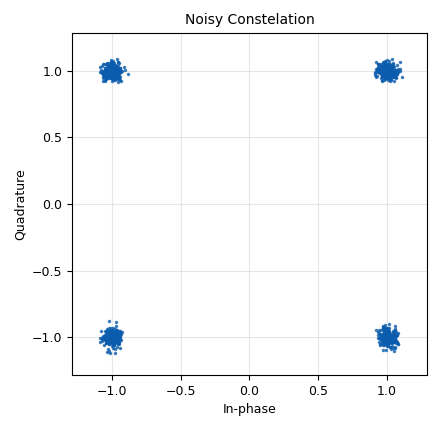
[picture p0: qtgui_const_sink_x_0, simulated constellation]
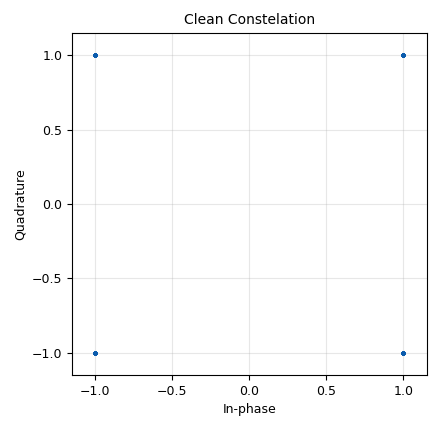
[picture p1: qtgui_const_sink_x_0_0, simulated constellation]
options:
  parameters:
    author: tripp
    generate_options: qt_gui
    id: qpskGeneration
    output_language: python
    title: Not titled yet
  states: {}

blocks:
- name: samp_rate
  id: variable
  parameters:
    value: '32000'
  states: {}
- name: analog_noise_source_x_0
  id: analog_noise_source_x
  parameters:
    amp: '0.05'
    noise_type: analog.GR_GAUSSIAN
    seed: '0'
    type: complex
  states: {}
- name: blocks_add_const_vxx_0
  id: blocks_add_const_vxx
  parameters:
    const: '-1'
    type: float
  states: {}
- name: blocks_add_const_vxx_0_0
  id: blocks_add_const_vxx
  parameters:
    const: '-1'
    type: float
  states: {}
- name: blocks_add_xx_0
  id: blocks_add_xx
  parameters:
    type: complex
  states: {}
- name: blocks_float_to_complex_0
  id: blocks_float_to_complex
  parameters: {}
  states: {}
- name: blocks_multiply_const_vxx_0
  id: blocks_multiply_const_vxx
  parameters:
    const: '2'
    type: float
  states: {}
- name: blocks_multiply_const_vxx_0_0
  id: blocks_multiply_const_vxx
  parameters:
    const: '2'
    type: float
  states: {}
- name: blocks_vector_source_x_0
  id: blocks_vector_source_x
  parameters:
    repeat: 'True'
    type: float
    vector: (0, 1, 1, 0)
  states: {}
- name: blocks_vector_source_x_0_0
  id: blocks_vector_source_x
  parameters:
    repeat: 'True'
    type: float
    vector: (0, 0, 1, 1)
  states: {}
- name: qtgui_const_sink_x_0
  id: qtgui_const_sink_x
  parameters:
    autoscale: 'True'
    name: Noisy Constelation
    size: '1024'
    type: complex
  states: {}
- name: qtgui_const_sink_x_0_0
  id: qtgui_const_sink_x
  parameters:
    autoscale: 'True'
    name: Clean Constelation
    size: '1024'
    type: complex
  states: {}

connections:
- [analog_noise_source_x_0, '0', blocks_add_xx_0, '0']
- [blocks_add_const_vxx_0, '0', blocks_float_to_complex_0, '0']
- [blocks_add_const_vxx_0_0, '0', blocks_float_to_complex_0, '1']
- [blocks_add_xx_0, '0', qtgui_const_sink_x_0, '0']
- [blocks_float_to_complex_0, '0', blocks_add_xx_0, '1']
- [blocks_float_to_complex_0, '0', qtgui_const_sink_x_0_0, '0']
- [blocks_multiply_const_vxx_0, '0', blocks_add_const_vxx_0, '0']
- [blocks_multiply_const_vxx_0_0, '0', blocks_add_const_vxx_0_0, '0']
- [blocks_vector_source_x_0, '0', blocks_multiply_const_vxx_0, '0']
- [blocks_vector_source_x_0_0, '0', blocks_multiply_const_vxx_0_0, '0']

metadata:
  file_format: 1
